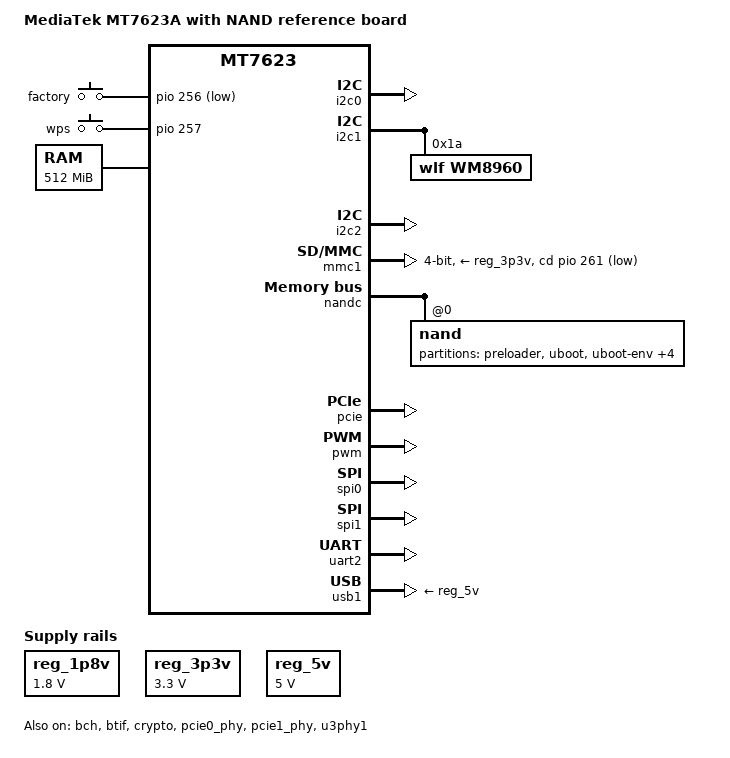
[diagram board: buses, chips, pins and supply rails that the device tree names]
// SPDX-License-Identifier: GPL-2.0
/*
 * Copyright (c) 2017-2018 MediaTek Inc.
 * Author: Sean Wang <sean.wang@mediatek.com>
 *
 */

/dts-v1/;
#include <dt-bindings/input/input.h>
#include "mt7623a.dtsi"
#include "mt6323.dtsi"

/ {
	model = "MediaTek MT7623A with NAND reference board";
	compatible = "mediatek,mt7623a-rfb-nand", "mediatek,mt7623";

	aliases {
		serial2 = &uart2;
	};

	chosen {
		stdout-path = "serial2:115200n8";
	};

	cpus {
		cpu@0 {
			proc-supply = <&mt6323_vproc_reg>;
		};

		cpu@1 {
			proc-supply = <&mt6323_vproc_reg>;
		};

		cpu@2 {
			proc-supply = <&mt6323_vproc_reg>;
		};

		cpu@3 {
			proc-supply = <&mt6323_vproc_reg>;
		};
	};

	gpio-keys {
		compatible = "gpio-keys";
		pinctrl-names = "default";
		pinctrl-0 = <&key_pins_a>;

		button-factory {
			label = "factory";
			linux,code = <BTN_0>;
			gpios = <&pio 256 GPIO_ACTIVE_LOW>;
		};

		button-wps {
			label = "wps";
			linux,code = <KEY_WPS_BUTTON>;
			gpios = <&pio 257 GPIO_ACTIVE_HIGH>;
		};
	};

	memory@80000000 {
		device_type = "memory";
		reg = <0 0x80000000 0 0x20000000>;
	};

	reg_1p8v: regulator-1p8v {
		compatible = "regulator-fixed";
		regulator-name = "fixed-1.8V";
		regulator-min-microvolt = <1800000>;
		regulator-max-microvolt = <1800000>;
		regulator-boot-on;
		regulator-always-on;
	};

	reg_3p3v: regulator-3p3v {
		compatible = "regulator-fixed";
		regulator-name = "fixed-3.3V";
		regulator-min-microvolt = <3300000>;
		regulator-max-microvolt = <3300000>;
		regulator-boot-on;
		regulator-always-on;
	};

	reg_5v: regulator-5v {
		compatible = "regulator-fixed";
		regulator-name = "fixed-5V";
		regulator-min-microvolt = <5000000>;
		regulator-max-microvolt = <5000000>;
		regulator-boot-on;
		regulator-always-on;
	};

	sound {
		compatible = "mediatek,mt2701-wm8960-machine";
		mediatek,platform = <&afe>;
		audio-routing =
			"Headphone", "HP_L",
			"Headphone", "HP_R",
			"LINPUT1", "AMIC",
			"RINPUT1", "AMIC";
		mediatek,audio-codec = <&wm8960>;
		pinctrl-names = "default";
		pinctrl-0 = <&i2s0_pins_a>;
	};
};

&bch {
	status = "okay";
};

&btif {
	status = "okay";
};

&crypto {
	status = "okay";
};

&switch0 {
	ports {
		port@0 {
			status = "okay";
			label = "lan0";
		};

		port@1 {
			status = "okay";
			label = "lan1";
		};

		port@2 {
			status = "okay";
			label = "lan2";
		};

		port@3 {
			status = "okay";
			label = "lan3";
		};

		port@4 {
			status = "okay";
			label = "wan";
		};
	};
};

&i2c0 {
	pinctrl-names = "default";
	pinctrl-0 = <&i2c0_pins_a>;
	status = "okay";
};

&i2c1 {
	pinctrl-names = "default";
	pinctrl-0 = <&i2c1_pins_b>;
	status = "okay";

	wm8960: wm8960@1a {
		compatible = "wlf,wm8960";
		reg = <0x1a>;
	};
};

&i2c2 {
	pinctrl-names = "default";
	pinctrl-0 = <&i2c2_pins_b>;
	status = "okay";
};

&mmc1 {
	pinctrl-names = "default", "state_uhs";
	pinctrl-0 = <&mmc1_pins_default>;
	pinctrl-1 = <&mmc1_pins_uhs>;
	status = "okay";
	bus-width = <4>;
	max-frequency = <50000000>;
	cap-sd-highspeed;
	cd-gpios = <&pio 261 GPIO_ACTIVE_LOW>;
	vmmc-supply = <&reg_3p3v>;
	vqmmc-supply = <&reg_3p3v>;
};

&nandc {
	pinctrl-names = "default";
	pinctrl-0 = <&nand_pins_default>;
	status = "okay";

	nand@0 {
		reg = <0>;
		spare_per_sector = <64>;
		nand-ecc-mode = "hw";
		nand-ecc-strength = <12>;
		nand-ecc-step-size = <1024>;

		partitions {
			compatible = "fixed-partitions";
			#address-cells = <1>;
			#size-cells = <1>;

			partition@0 {
				label = "preloader";
				reg = <0x0 0x40000>;
			};

			partition@40000 {
				label = "uboot";
				reg = <0x40000 0x80000>;
			};

			partition@c0000 {
				label = "uboot-env";
				reg = <0xC0000 0x40000>;
			};

			partition@140000 {
				label = "bootimg";
				reg = <0x140000 0x2000000>;
			};

			partition@2140000 {
				label = "recovery";
				reg = <0x2140000 0x2000000>;
			};

			partition@4140000 {
				label = "rootfs";
				reg = <0x4140000 0x1000000>;
			};

			partition@5140000 {
				label = "usrdata";
				reg = <0x5140000 0x1000000>;
			};
		};
	};
};

&pcie {
	pinctrl-names = "default";
	pinctrl-0 = <&pcie_default>;
	status = "okay";

	pcie@0,0 {
		status = "okay";
	};

	pcie@1,0 {
		status = "okay";
	};
};

&pcie0_phy {
	status = "okay";
};

&pcie1_phy {
	status = "okay";
};

&pwm {
	pinctrl-names = "default";
	pinctrl-0 = <&pwm_pins_a>;
	status = "okay";
};

&spi0 {
	pinctrl-names = "default";
	pinctrl-0 = <&spi0_pins_a>;
	status = "okay";
};

&spi1 {
	pinctrl-names = "default";
	pinctrl-0 = <&spi1_pins_a>;
	status = "okay";
};

&uart2 {
	pinctrl-names = "default";
	pinctrl-0 = <&uart2_pins_b>;
	status = "okay";
};

&usb1 {
	vusb33-supply = <&reg_3p3v>;
	vbus-supply = <&reg_5v>;
	status = "okay";
};

&u3phy1 {
	status = "okay";
};
